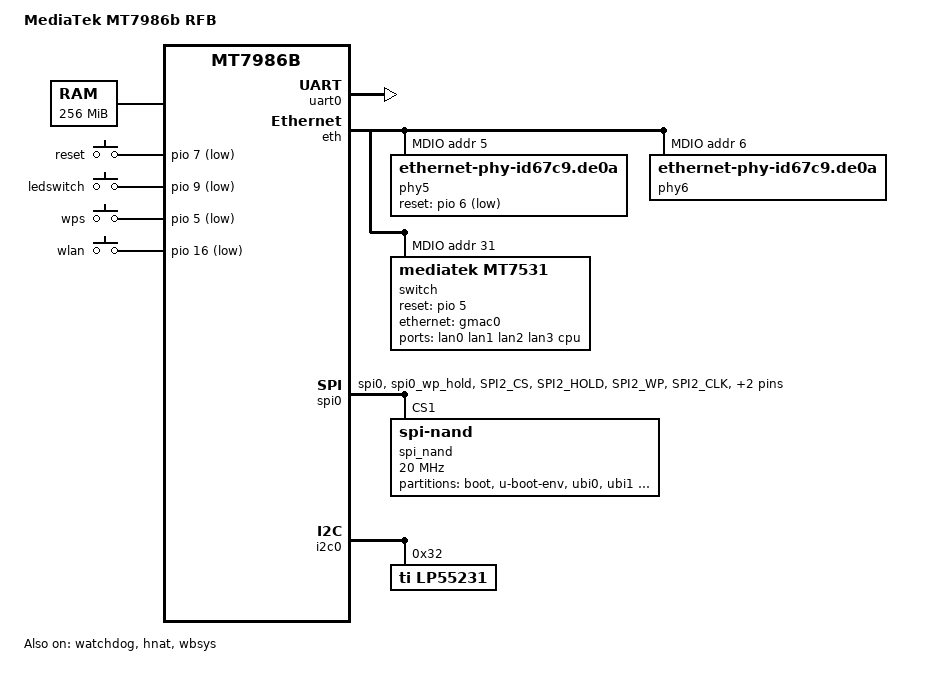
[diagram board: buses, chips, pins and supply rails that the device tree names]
/dts-v1/;
#include <dt-bindings/input/input.h>
#include <dt-bindings/gpio/gpio.h>

#include "mt7986b.dtsi"
/ {
	model = "MediaTek MT7986b RFB";
	compatible = "mediatek,mt7986b-snand-rfb";
	chosen {
		//bootargs = "console=ttyS0,115200n1 loglevel=8  \
		//		earlycon=uart8250,mmio32,0x11002000 \
		//		init=/etc/preinit";
	};


	memory {
		// fpga ddr2: 128MB*2
		reg = <0 0x40000000 0 0x10000000>;
	};

	gpio-keys-polled {
		compatible = "gpio-keys-polled";
		poll-interval = <100>;

		reset {
			label = "reset";
			linux,code = <KEY_RESTART>;
			gpios = <&pio 7 GPIO_ACTIVE_LOW>;
			linux,input-type = <1>;
		};
		ledswitch {
			label = "ledswitch";
			linux,code = <KEY_BRIGHTNESS_ZERO>;
			gpios = <&pio 9 GPIO_ACTIVE_LOW>;
			linux,input-type = <1>;
		};
		wps {
			label = "wps";
			linux,code = <KEY_WPS_BUTTON>;
			gpios = <&pio 5 GPIO_ACTIVE_LOW>;
			linux,input-type = <1>;
		};
		wifi {
			label = "wlan";
			linux,code = <KEY_WLAN>;
			gpios = <&pio 16 GPIO_ACTIVE_LOW>;
			linux,input-type = <1>;
		};
	};
};



&uart0 {
	status = "okay";
};

&watchdog {
	status = "okay";
};

&eth {
        status = "okay";

        gmac0: mac@0 {
                compatible = "mediatek,eth-mac";
                reg = <0>;
                phy-mode = "2500base-x";

                fixed-link {
                        speed = <2500>;
                        full-duplex;
                        pause;
                };
        };

        gmac1: mac@1 {
                compatible = "mediatek,eth-mac";
                reg = <1>;
                phy-mode = "2500base-x";
                nick-index = <4>;

                fixed-link {
                        speed = <2500>;
                        full-duplex;
                        pause;
                };
        };

        mdio: mdio-bus {
                #address-cells = <1>;
                #size-cells = <0>;

		phy5: phy@5 {
			compatible = "ethernet-phy-id67c9.de0a";
			reg = <5>;
			reset-gpios = <&pio 6 1>;
			reset-deassert-us = <20000>;
			phy-mode = "2500base-x";
		};

		phy6: phy@6 {
			compatible = "ethernet-phy-id67c9.de0a";
			reg = <6>;
			phy-mode = "2500base-x";
			partner_gmac = <1>;
		};

                switch@0 {
                        compatible = "mediatek,mt7531";
                        reg = <31>;
                        reset-gpios = <&pio 5 0>;

                        ports {
                                #address-cells = <1>;
                                #size-cells = <0>;

                                port@0 {
                                        reg = <0>;
                                        label = "lan0";
                                };

                                port@1 {
                                        reg = <1>;
                                        label = "lan1";
                                };

                                port@2 {
                                        reg = <2>;
                                        label = "lan2";
                                };

                                port@3 {
                                        reg = <3>;
                                        label = "lan3";
                                };

                                port@6 {
                                        reg = <6>;
                                        label = "cpu";
                                        ethernet = <&gmac0>;
                                        phy-mode = "2500base-x";

                                        fixed-link {
                                                speed = <2500>;
                                                full-duplex;
                                                pause;
                                        };
                                };
                        };
                };
        };
};

&hnat {
	mtketh-wan = "eth1";
	mtketh-lan = "lan";
	mtketh-max-gmac = <2>;
	status = "okay";
};

&spi0 {
	pinctrl-names = "default";
	pinctrl-0 = <&spi_flash_pins>;
	cs-gpios = <0>, <0>;
	status = "okay";

	spi_nand: spi_nand@1 {
		#address-cells = <1>;
		#size-cells = <1>;
		compatible = "spi-nand";
		reg = <1>;
		spi-max-frequency = <20000000>;
		spi-tx-buswidth = <4>;
		spi-rx-buswidth = <4>;

		partition@0 {
			label = "boot";
			reg = <0x00000 0x0200000>;
			read-only;
		};

		partition@200000 {
			label = "u-boot-env";
			reg = <0x0200000 0x0100000>;
		};

		partition@300000 {
			label = "ubi0";
			reg = <0x300000 0x3200000>;
		};

		partition@3500000 {
			label = "ubi1";
			reg = <0x3500000 0x3200000>;
		};

		partition@6700000 {
			label = "userconfig";
			reg = <0x6700000 0x800000>;
		};

		factory:partition@6f00000 {
			label = "tp_data";
			reg = <0x6f00000 0x400000>;
		};


	};
};


&pio {
	spi_flash_pins: spi-flash-pins-33-to-38 {
		mux {
			function = "flash";
			groups = "spi0", "spi0_wp_hold";
		};
		conf-pu {
			pins = "SPI2_CS", "SPI2_HOLD", "SPI2_WP";
			drive-strength = <MTK_DRIVE_8mA>;
			mediatek,pull-up-adv = <0>;	/* bias-disable */
		};
		conf-pd {
			pins = "SPI2_CLK", "SPI2_MOSI", "SPI2_MISO";
			drive-strength = <MTK_DRIVE_8mA>;
			mediatek,pull-down-adv = <0>;	/* bias-disable */
		};

	};

	snfi_pins: snfi-pins-23-to-28 {
		mux {
			function = "flash";
			groups = "snfi";
		};
		conf-clk {
			pins = "SPI0_CLK";
			drive-strength = <MTK_DRIVE_8mA>;
			mediatek,pull-down-adv = <0>;	/* bias-disable */
		};
		conf-pu {
			pins = "SPI0_CS", "SPI0_HOLD", "SPI0_WP";
			drive-strength = <MTK_DRIVE_6mA>;
			mediatek,pull-up-adv = <0>;	/* bias-disable */
		};
		conf-pd {
			pins = "SPI0_MOSI", "SPI0_MISO";
			drive-strength = <MTK_DRIVE_6mA>;
			mediatek,pull-down-adv = <0>;	/* bias-disable */
		};

	};

	spic_pins: spi1-pins {
		mux {
			function = "spi";
			groups = "spi1_2";
		};
	};
};


&wbsys {
	mediatek,mtd-eeprom = <&factory 0x0000>;
	status = "okay";
};

&i2c0 {
	status = "okay";

	lp55231@0x32 {
		compatible = "ti,lp55231";
		reg = <0x32>;
		clock-mode = /bits/ 8 <1>;

		chan0 {
			chan-name = "d1";
			led-cur = /bits/ 8 <0x14>;
			max-cur = /bits/ 8 <0x20>;
		};
					
		chan1 {
			chan-name = "d2";
			led-cur = /bits/ 8 <0x14>;
			max-cur = /bits/ 8 <0x20>;
		};

		chan2 {
			chan-name = "d3";
			led-cur = /bits/ 8 <0x14>;
			max-cur = /bits/ 8 <0x20>;
		};

		chan3 {
			chan-name = "d4";
			led-cur = /bits/ 8 <0x14>;
			max-cur = /bits/ 8 <0x20>;
		};

		chan4 {
			chan-name = "d5";
			led-cur = /bits/ 8 <0x14>;
			max-cur = /bits/ 8 <0x20>;
		};

		chan5 {
			chan-name = "d6";
			led-cur = /bits/ 8 <0x14>;
			max-cur = /bits/ 8 <0x20>;
		};

		chan6 {
			chan-name = "d7";
			led-cur = /bits/ 8 <0x14>;
			max-cur = /bits/ 8 <0x20>;
		};

		chan7 {
			chan-name = "d8";
			led-cur = /bits/ 8 <0x14>;
			max-cur = /bits/ 8 <0x20>;
		};

		chan8 {
			chan-name = "d9";
			led-cur = /bits/ 8 <0x14>;
			max-cur = /bits/ 8 <0x20>;
		};
	};
};
